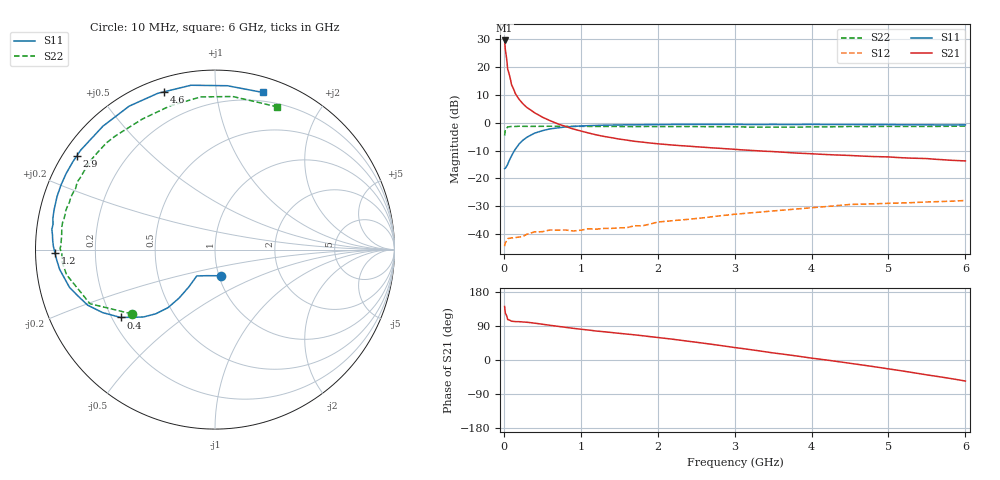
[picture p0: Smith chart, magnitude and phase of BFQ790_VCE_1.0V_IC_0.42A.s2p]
! Infineon Technologies  Discrete & RF Semiconductors
! BFQ790
! VCE =  1.0 V,  IC = 0.42 A
! Common Emitter S-Parameters:  May 2015
# GHz  S  MA  R  50
!  f  S11  S21  S12  S22
! GHz  MAG  ANG  MAG  ANG  MAG  ANG  MAG  ANG
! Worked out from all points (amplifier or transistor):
!   77 points, 10 MHz to 6 GHz, reference 50 ohm
!   highest |S21| = 29.5 dB at 10 MHz (marker M1)
!   |S21| within 3 dB of that: start of sweep to 18.79 MHz
!   unconditionally stable (mu >= 1): start of sweep to end of sweep
!   at 130 MHz: K = 3.50, MAG = 18.2 dB, |S12| = -41.2 dB
!   at 2.2 GHz: K = 3.22, MAG = 5.6 dB, |S12| = -35.1 dB
!   at 6 GHz: K = 2.78, MAG = -0.2 dB, |S12| = -27.9 dB
!   S11 on the Smith chart (normalised r, x): 10 MHz: 1.02, -0.30; 400 MHz: 0.23, -0.31; 1.2 GHz: 0.06, -0.01; 2.9 GHz: 0.04, +0.31; 4.6 GHz: 0.06, +0.73; 6 GHz: 0.12, +1.34
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0.01  0.1495 -77.1  29.78 141.3  0.0061 21.9  0.5851 -142.2
0.02  0.1529 -108.1  20.1 122.8  0.007 15.8  0.759 -156.6
0.05  0.1787 -124.7  9.105 106.6  0.0083 10.2  0.8389 -170.4
0.1  0.2532 -125.0  4.784 102.3  0.0086 7.7  0.8557 -175.7
0.15  0.3353 -126.5  3.312 101.3  0.0087 13.3  0.8536 -178.9
0.2  0.4167 -129.0  2.602 101.1  0.0089 16.2  0.8633 179.7
0.25  0.4867 -132.7  2.166 100.3  0.0091 10.6  0.8586 178.3
0.3  0.5474 -136.7  1.867 99.6  0.01 13.6  0.8583 177.1
0.4  0.6482 -144.3  1.501 97.1  0.011 16.0  0.8579 175.0
0.5  0.7175 -150.7  1.256 94.4  0.0111 12.9  0.8597 173.3
0.7  0.8052 -161.2  0.955 88.9  0.0118 16.2  0.8623 169.8
0.9  0.8555 -169.6  0.772 83.6  0.0114 11.4  0.8578 167.1
1.1  0.8831 -176.0  0.653 79.0  0.0125 16.6  0.8577 164.1
1.2  0.8918 -178.8  0.605 76.5  0.0123 16.5  0.8541 162.8
1.6  0.9159 172.9  0.486 68.4  0.0131 19.7  0.8509 157.6
2.1  0.9256 163.4  0.407 57.1  0.017 21.1  0.8503 150.0
2.9  0.9303 145.9  0.34 35.9  0.022 12.6  0.8445 133.4
3.1  0.9278 141.3  0.325 30.3  0.0234 10.0  0.8371 128.8
4.1  0.928 118.8  0.272 2.4  0.0306 -6.2  0.8391 104.9
4.6  0.9238 107.8  0.254 -11.5  0.0344 -16.7  0.8521 93.0
5.1  0.9199 95.8  0.238 -26.4  0.0361 -27.9  0.8558 81.4
6  0.9154 73.0  0.206 -55.5  0.0402 -49.3  0.8672 66.4
